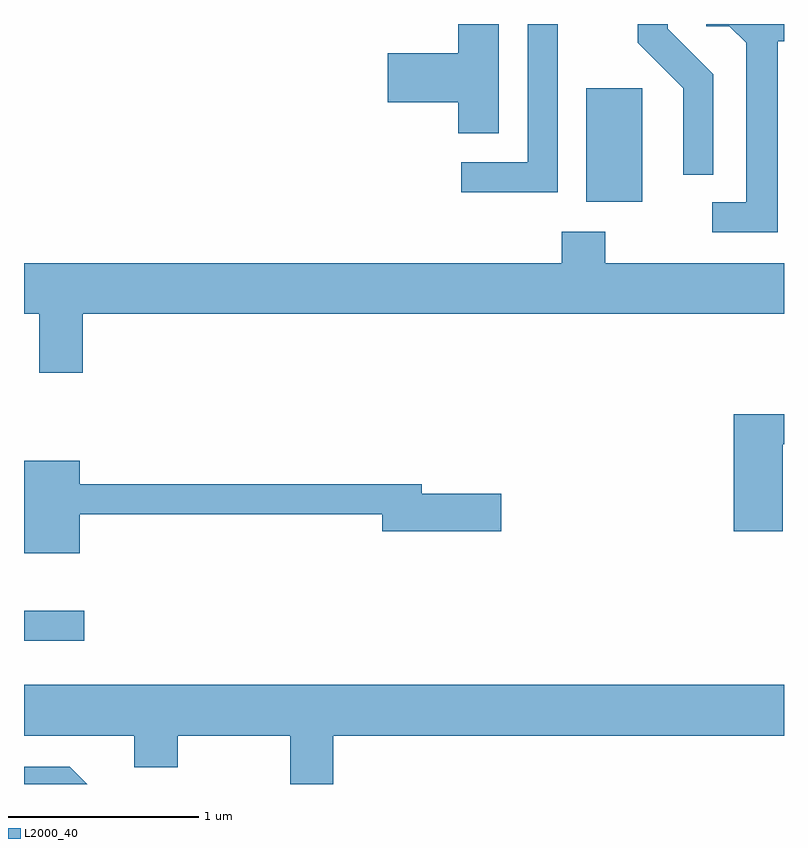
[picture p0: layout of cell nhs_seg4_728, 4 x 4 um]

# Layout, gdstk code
import gdstk
lib = gdstk.Library(unit=1e-6, precision=1e-09)
def R(c, l, rs):  # rectangles x0, y0, x1, y1
    for r in rs: c.add(gdstk.rectangle(r[:2], r[2:], *l))
def P(c, l, *ps):  # polygons
    for p in ps: c.add(gdstk.Polygon(p, *l))
L2000_40 = (2000, 40)

nhs_seg4_728 = lib.new_cell('nhs_seg4_728')
R(nhs_seg4_728, L2000_40, [(205.611,1350.736,205.928,1350.894), (208.571,1353.046,208.864,1353.644)])
P(nhs_seg4_728, L2000_40, [(208.109,1353.982),(207.896,1353.982),(207.896,1353.829),(207.526,1353.829),(207.526,1353.571),(207.896,1353.571),(207.896,1353.406),(208.109,1353.406)],
  [(209.579,1353.891),(209.611,1353.891),(209.611,1353.982),(209.203,1353.982),(209.203,1353.971),(209.324,1353.971),(209.411,1353.884),(209.411,1353.044),(209.233,1353.044),(209.233,1352.886),(209.579,1352.886)],
  [(208.419,1353.982),(208.261,1353.982),(208.261,1353.254),(207.913,1353.254),(207.913,1353.096),(208.419,1353.096)],
  [(209.239,1353.717),(208.999,1353.957),(208.999,1353.982),(208.841,1353.982),(208.841,1353.884),(209.081,1353.644),(209.081,1353.188),(209.239,1353.188)],
  [(205.919,1352.456),(209.611,1352.456),(209.611,1352.724),(208.669,1352.724),(208.669,1352.889),(208.441,1352.889),(208.441,1352.724),(205.611,1352.724),(205.611,1352.456),(205.691,1352.456),(205.691,1352.146),(205.919,1352.146)],
  [(209.604,1351.771),(209.611,1351.771),(209.611,1351.929),(209.346,1351.929),(209.346,1351.311),(209.604,1351.311)],
  [(205.904,1351.401),(207.496,1351.401),(207.496,1351.311),(208.124,1351.311),(208.124,1351.509),(207.704,1351.509),(207.704,1351.559),(205.904,1351.559),(205.904,1351.684),(205.611,1351.684),(205.611,1351.196),(205.904,1351.196)],
  [(207.239,1350.236),(209.611,1350.236),(209.611,1350.504),(205.611,1350.504),(205.611,1350.236),(206.191,1350.236),(206.191,1350.071),(206.419,1350.071),(206.419,1350.236),(207.011,1350.236),(207.011,1349.982),(207.239,1349.982)],
  [(205.852,1350.074),(205.611,1350.074),(205.611,1349.982),(205.944,1349.982)])

lib.write_gds('nhs_seg4_728.gds')
